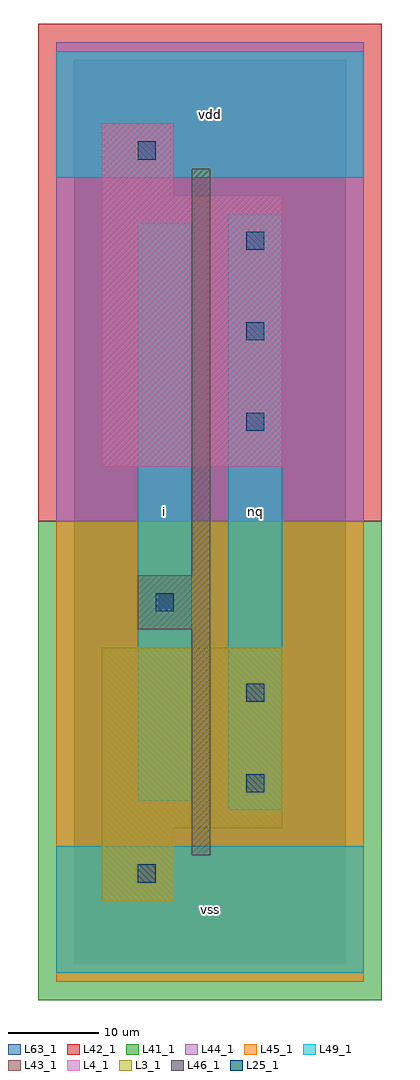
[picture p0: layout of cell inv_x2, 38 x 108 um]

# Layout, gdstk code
import gdstk
lib = gdstk.Library(unit=1e-6, precision=1e-09)
def R(c, l, rs):  # rectangles x0, y0, x1, y1
    for r in rs: c.add(gdstk.rectangle(r[:2], r[2:], *l))
def A(c, l, x, y, w, h, nx, ny, dx, dy):  # array of equal rectangles
    R(c, l, [(x+i*dx, y+j*dy, x+i*dx+w, y+j*dy+h) for i in range(nx) for j in range(ny)])
L3_1 = (3, 1)
L4_1 = (4, 1)
L25_1 = (25, 1)
L41_1 = (41, 1)
L42_1 = (42, 1)
L43_1 = (43, 1)
L44_1 = (44, 1)
L45_1 = (45, 1)
L46_1 = (46, 1)
L49_1 = (49, 1)
L63_1 = (63, 1)

inv_x2 = lib.new_cell('inv_x2')
R(inv_x2, L3_1, [(3,7,11,15), (3,15,23,35)])
R(inv_x2, L4_1, [(3,55,23,85), (3,85,11,93)])
A(inv_x2, L25_1, 19, 59, 2, 2, 1, 3, 0, 10)
R(inv_x2, L25_1, [(7,9,9,11), (19,19,21,21), (19,29,21,31), (9,39,11,41), (7,89,9,91)])
R(inv_x2, L41_1, [(-4,-4,34,49)])
R(inv_x2, L42_1, [(-4,49,34,104)])
R(inv_x2, L43_1, [(3,7,11,15), (3,15,23,35), (3,55,23,85), (3,85,11,93)])
R(inv_x2, L44_1, [(-2,49,32,102)])
R(inv_x2, L45_1, [(-2,-2,32,49)])
R(inv_x2, L46_1, [(13,12,15,37), (7,37,15,43), (13,43,15,88)])
R(inv_x2, L49_1, [(-2,-1,32,13), (17,17,23,83), (7,18,13,82), (-2,87,32,101)])
R(inv_x2, L63_1, [(0,0,30,100)])
inv_x2.add(gdstk.Label('vss', (15,6), layer=49, texttype=1))
inv_x2.add(gdstk.Label('vss', (15,6), layer=49, texttype=1))
inv_x2.add(gdstk.Label('i', (10,50), layer=49, texttype=1))
inv_x2.add(gdstk.Label('i', (10,50), layer=49, texttype=1))
inv_x2.add(gdstk.Label('vdd', (15,94), layer=49, texttype=1))
inv_x2.add(gdstk.Label('vdd', (15,94), layer=49, texttype=1))
inv_x2.add(gdstk.Label('nq', (20,50), layer=49, texttype=1))
inv_x2.add(gdstk.Label('nq', (20,50), layer=49, texttype=1))

lib.write_gds('inv_x2.gds')
